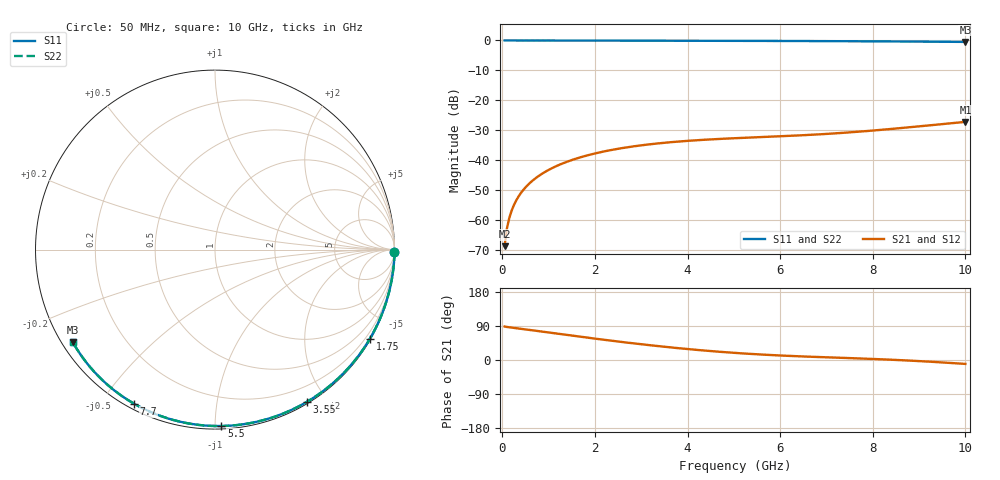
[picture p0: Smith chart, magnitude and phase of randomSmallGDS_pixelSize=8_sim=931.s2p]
! freq	dB(S11)	phase(S11)	dB(S12)	phase(S12)
!  dB(S21)	phase(S21)	dB(S22)	phase(S22)
!S-par simulation data
#  GHz  S  DB  R 50
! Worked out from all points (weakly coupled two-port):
!   200 points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, 50 MHz to 10 GHz, reference 50 ohm
!   highest |S21| = -27.26 dB at 10 GHz (marker M1); lowest = -68.9 dB at 50 MHz (marker M2)
!   lowest |S11| = -0.5 dB at 10 GHz (marker M3), VSWR 35.72, Z = 1.52 - j14.8 ohm
!   |S11| at or under -10 dB: nowhere
!   |S22| runs from -0.5 to 0.0 dB; largest |S21 - S12| = 0
!   S11 on the Smith chart (normalised r, x): 50 MHz: open; 1.75 GHz: 0.03, -3.74; 3.55 GHz: 0.02, -1.77; 5.5 GHz: 0.02, -1.04; 7.7 GHz: 0.02, -0.60; 10 GHz: 0.03, -0.30
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0.05  -0.00 -0.9  -68.88 88.4  -68.88 88.4  -0.00 -0.9
0.1  -0.00 -1.7  -62.94 87.2  -62.94 87.2  -0.00 -1.7
0.15  -0.00 -2.6  -59.50 86.2  -59.50 86.2  -0.00 -2.6
0.2  -0.00 -3.5  -57.05 85.5  -57.05 85.5  -0.00 -3.5
0.25  -0.00 -4.4  -55.15 84.7  -55.15 84.7  -0.00 -4.4
0.35  -0.00 -6.1  -52.27 83.2  -52.27 83.2  -0.00 -6.1
0.5  -0.01 -8.7  -49.22 80.8  -49.22 80.8  -0.01 -8.7
0.7  -0.01 -12.1  -46.35 77.5  -46.35 77.5  -0.01 -12.1
1  -0.02 -17.3  -43.35 72.6  -43.35 72.6  -0.02 -17.2
1.35  -0.03 -23.2  -40.88 66.8  -40.88 66.8  -0.03 -23.2
1.75  -0.04 -29.9  -38.84 60.4  -38.84 60.4  -0.04 -29.9
2.5  -0.06 -42.3  -36.27 48.8  -36.27 48.8  -0.05 -42.3
3.4  -0.08 -56.7  -34.41 36.2  -34.41 36.2  -0.08 -56.7
3.55  -0.08 -59.0  -34.19 34.3  -34.19 34.3  -0.08 -59.0
4.3  -0.10 -70.5  -33.31 25.6  -33.31 25.6  -0.10 -70.5
5.05  -0.13 -81.5  -32.71 18.5  -32.71 18.5  -0.13 -81.5
5.5  -0.14 -88.0  -32.41 15.1  -32.41 15.1  -0.14 -87.9
6.7  -0.20 -104.5  -31.57 8.4  -31.57 8.4  -0.20 -104.5
7.7  -0.27 -117.7  -30.55 4.2  -30.55 4.2  -0.27 -117.7
8.35  -0.32 -126.0  -29.70 1.0  -29.70 1.0  -0.32 -126.0
9.2  -0.40 -136.9  -28.47 -4.2  -28.47 -4.2  -0.40 -136.8
10  -0.49 -147.0  -27.26 -10.3  -27.26 -10.3  -0.49 -147.0
